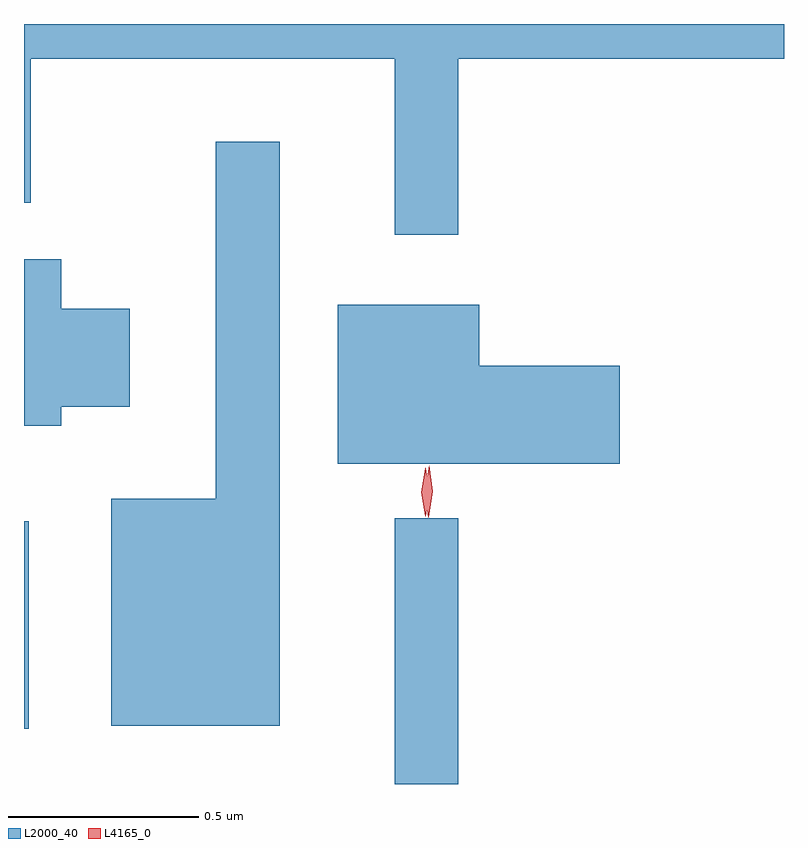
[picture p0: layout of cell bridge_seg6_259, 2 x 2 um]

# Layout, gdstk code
import gdstk
lib = gdstk.Library(unit=1e-6, precision=1e-09)
def R(c, l, rs):  # rectangles x0, y0, x1, y1
    for r in rs: c.add(gdstk.rectangle(r[:2], r[2:], *l))
def P(c, l, *ps):  # polygons
    for p in ps: c.add(gdstk.Polygon(p, *l))
L2000_40 = (2000, 40)
L4165_0 = (4165, 0)

bridge_seg6_259 = lib.new_cell('bridge_seg6_259')
R(bridge_seg6_259, L2000_40, [(1397.421,1572.548,1397.589,1573.248), (1396.446,1572.693,1396.459,1573.239)])
P(bridge_seg6_259, L2000_40, [(1397.589,1574.456),(1398.446,1574.456),(1398.446,1574.548),(1396.446,1574.548),(1396.446,1574.078),(1396.464,1574.078),(1396.464,1574.456),(1397.421,1574.456),(1397.421,1573.993),(1397.589,1573.993)],
  [(1397.119,1574.238),(1396.951,1574.238),(1396.951,1573.299),(1396.676,1573.299),(1396.676,1572.701),(1397.119,1572.701)],
  [(1396.544,1573.541),(1396.724,1573.541),(1396.724,1573.799),(1396.544,1573.799),(1396.544,1573.929),(1396.446,1573.929),(1396.446,1573.491),(1396.544,1573.491)],
  [(1398.014,1573.649),(1397.644,1573.649),(1397.644,1573.809),(1397.271,1573.809),(1397.271,1573.391),(1398.014,1573.391)])
P(bridge_seg6_259, L4165_0, [(1397.51,1573.25),(1397.51,1573.25),(1397.501,1573.318),(1397.512,1573.386),(1397.512,1573.386),(1397.512,1573.386),(1397.521,1573.318),(1397.511,1573.25)],
  [(1397.502,1573.253),(1397.492,1573.316),(1397.502,1573.379),(1397.502,1573.38),(1397.503,1573.379),(1397.512,1573.316),(1397.503,1573.253),(1397.503,1573.253)])

lib.write_gds('bridge_seg6_259.gds')
